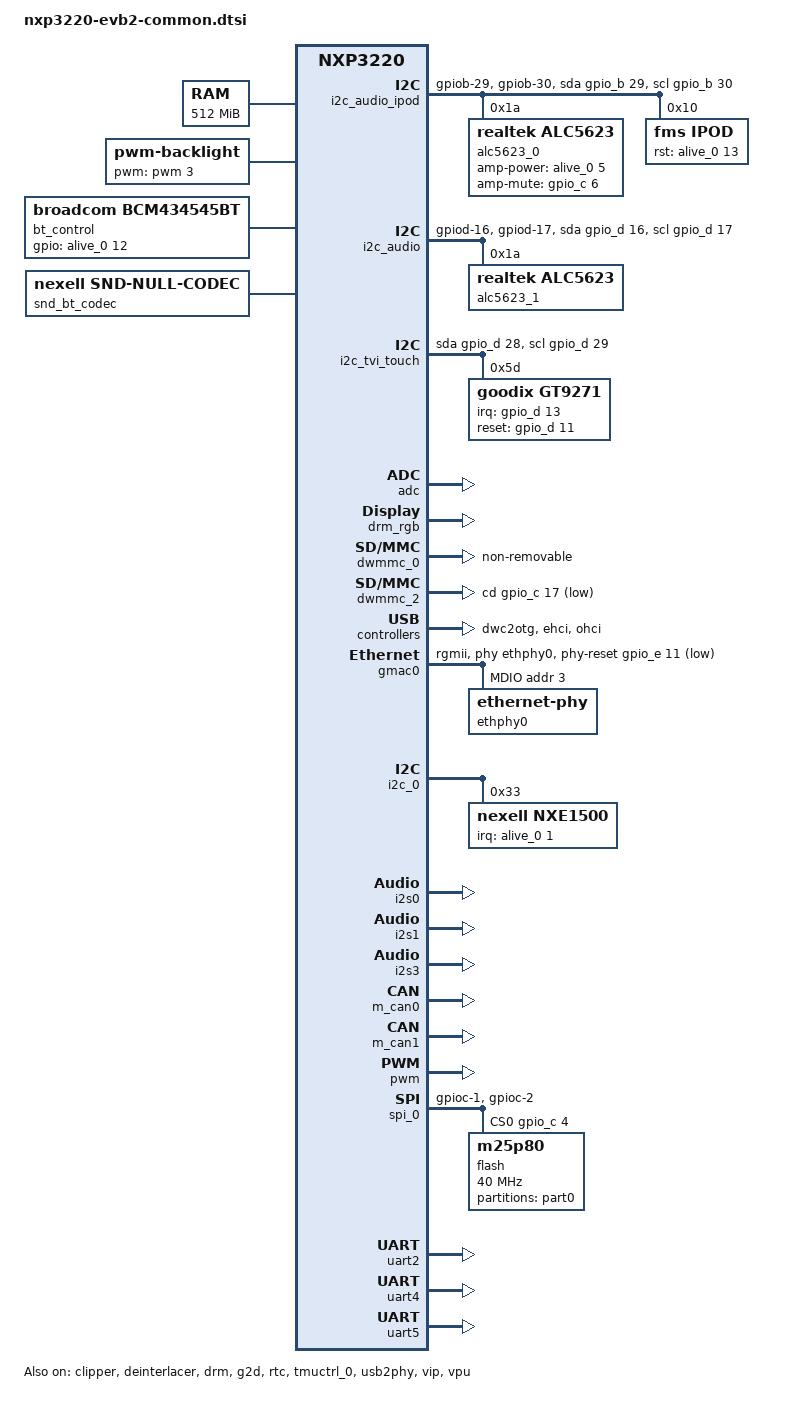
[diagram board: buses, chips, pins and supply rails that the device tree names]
// SPDX-License-Identifier: (GPL-2.0+ OR MIT)
/*
 * Copyright (C) 2018  Nexell Co., Ltd.
 * Author: JungHyun, Kim <jhkim@nexell.co.kr>
 */

/dts-v1/;

#include <dt-bindings/gpio/gpio.h>
#include <dt-bindings/input/input.h>
#include "nxp3220.dtsi"

#define PMIC_PDATA_INIT(_id, _rname, _minuv,		\
                        _maxuv, _init_uv, _init_enable,	\
                        _set_init_uV, _slp_slots)	\
                regulator-name = _rname;                \
                regulator-min-microvolt = <_minuv>;     \
                regulator-max-microvolt = <_maxuv>;     \
                nx,id = <_id>;                          \
                nx,init_enable = <_init_enable>;        \
                nx,init_uV = <_init_uv>;                \
                nx,set_init_uV = <_set_init_uV>;        \
                nx,sleep_slots = <_slp_slots>;

/ {
	compatible = "nexell,nxp3220-evb", "nexell,nxp3220";

	chosen {
		stdout-path = &uart2;
	};

	memory@40000000 {
		device_type = "memory";
		reg = <0x40000000 0x20000000>;
	};

	reserved-memory {
		#address-cells = <1>;
		#size-cells = <1>;
		ranges;

		bl32_mem: bl32_mem@5f000000 {
			reg = <0x5f000000 0x1000000>;
			no-map;
		};
	};

	backlight: pwm-backlight {
		compatible = "pwm-backlight";
		status = "okay";

		pwms = <&pwm 3 25000 0>; /* 40khz=1000000000/25000(period ns) */
		pwm-names = "pwm-backlight";
		brightness-levels = <
			20 21 22 23 24 25 26 27 28 29
			30 31 32 33 34 35 36 37 38 39
			40 41 42 43 44 45 46 47 48 49
			50 51 52 53 54 55 56 57 58 59
			60 61 62 63 64 65 66 67 68 69
			70 71 72 73 74 75 76 77 78 79
			80 81 82 83 84 85 86 87 88 89
			90 91 92 93 94 95 96 97 98 99
			100 101 102 103 104 105 106 107 108 109
			110 111 112 113 114 115 116 117 118 119
			120 121 122 123 124 125 126 127 128 129
			130 131 132 133 134 135 136 137 138 139
			140 141 142 143 144 145 146 147 148 149
			150 151 152 153 154 155 156 157 158 159
			160 161 162 163 164 165 166 167 168 169
			170 171 172 173 174 175 176 177 178 179
			180 181 182 183 184 185 186 187 188 189
			190 191 192 193 194 195 196 197 198 199
			200 201 202 203 204 205 206 207 208 209
			210 211 212 213 214 215 216 217 218 219
			220 221 222 223 224 225 226 227 228 229
			230 231 232 233 234 235 236 237 238 239
			240 241 242 243 244 245 246 247 248 249
			250 251 252 253 254 255
			>;
		default-brightness-level = <60>;
	};

	bt_control {
		compatible = "broadcom,bcm434545bt";
		gpios = <&alive_0 12 0>;   /* Alive GPIO12 = BT_REG_ON, output */
		pinctrl-names = "bt reg on";
		pinctrl-0 = <&bt_reg_on>;
		status = "okay";
	};

	gpio_keys: gpio-keys {
		compatible = "gpio-keys";
		#address-cells = <1>;
		#size-cells = <0>;
	};

	i2c_audio_ipod: i2c@audio-ipod {
		compatible = "i2c-gpio";
		pinctrl-names = "default";
		pinctrl-0 = <&i2c_audio_ipod_sda>, <&i2c_audio_ipod_scl>;
		gpios = <&gpio_b 29 0 /* sda */
			 &gpio_b 30 0 /* scl */>;
		#address-cells = <1>;
		#size-cells = <0>;
	};

	i2c_audio: i2c@audio {
		compatible = "i2c-gpio";
		pinctrl-names = "default";
		pinctrl-0 = <&i2c_audio_sda>, <&i2c_audio_scl>;
		gpios = <&gpio_d 16 0 /* sda */
			 &gpio_d 17 0 /* scl */>;
		#address-cells = <1>;
		#size-cells = <0>;
	};

	i2c_tvi_touch: i2c@tvi_touch {
		compatible = "i2c-gpio";
		gpios = <&gpio_d 28 0 /* sda */
			 &gpio_d 29 0 /* scl */>;
		#address-cells = <1>;
		#size-cells = <0>;
	};

	nx-v4l2 {
		status = "okay";
	};

	snd_bt_codec:snd_bt_codec@0 {
		#sound-dai-cells = <0>;
		compatible = "nexell,snd-null-codec";
		status = "okay";
	};

	sound0: sound0 {
		compatible = "simple-audio-card";
		simple-audio-card,name = "nxp3220 Audio Card ALC5623 0";
		status = "okay";

		simple-audio-card,dai-link@0 {
			mclk-fs = <256>;
			format = "i2s";
			frame-master = <&sndcpu0>;
			bitclock-master = <&sndcpu0>;

			sndcpu0: cpu  {
				sound-dai = <&i2s0 0>;
			};

			sndcodec0: codec {
				sound-dai = <&alc5623_0>;
			};
		};
	};

	sound1: sound1 {
		compatible = "simple-audio-card";
		simple-audio-card,name = "nxp3220 Audio Card ALC5623 1";
		status = "okay";

		simple-audio-card,dai-link@0 {
			mclk-fs = <256>;
			format = "i2s";
			frame-master = <&sndcpu1>;
			bitclock-master = <&sndcpu1>;

			sndcpu1: cpu  {
				sound-dai = <&i2s3 0>;
			};

			sndcodec1: codec {
				sound-dai = <&alc5623_1>;
			};
		};
	};

	sound2: sound2 {
		compatible = "simple-audio-card";
		simple-audio-card,name = "nxp3220 blutooth hs sco";
		status = "okay";

		simple-audio-card,dai-link@0 {
			mclk-fs = <256>;
			format = "i2s";
			frame-master = <&sndcodec2>;
			bitclock-master = <&sndcodec2>;

			sndcpu2: cpu  {
				sound-dai = <&i2s1 0>;
			};

			sndcodec2: codec {
				sound-dai = <&snd_bt_codec>;
			};
		};
	};

	thermal-zones {
		cpu_thermal: cpu-thermal {
			thermal-sensors = <&tmuctrl_0>;
			polling-delay-passive = <1000>;
			polling-delay = <1000>;

			trips {
				/*
				cpu_alert0: cpu-alert-0 {
					temperature = <40000>;
					hysteresis = <10000>;
					type = "passive";
				};
				cpu_alert1: cpu-alert-1 {
					temperature = <50000>;
					hysteresis = <10000>;
					type = "passive";
				};
				cpu_alert2: cpu-alert-2 {
					temperature = <55000>;
					hysteresis = <10000>;
					type = "passive";
				};
				cpu-crit-0 {
					temperature = <100000>;
					hysteresis = <10000>;
					type = "critical";
				};
				*/
			};
		};
	};
};

&adc {
	status = "okay";
	sample_rate = <1000000>;
};

&clipper {
	status = "okay";
	interface_type = <NX_CAPTURE_INTERFACE_PARALLEL>;
	pinctrl-names = "default";
	pinctrl-0 = <&vid0_vclk &vid0_sync &vid0_data_8 &tp2825_rst>;
	gpios = <&alive_0 2 0>;
	data_order = <NX_VIN_CBY0CRY1>;
	port = <0>;
	external_sync = <0>;
	interlace = <1>;

	sensor {
		type = <NX_CAPTURE_SENSOR_I2C>;
		sensor_name = "tp2825";
		i2c-bus = <&i2c_tvi_touch>;
		addr = <0x45>;
		out_port = <1>;
		vdelay = <0>;
	};

	power {
		enable_seq = <
			NX_ACTION_START NX_ACTION_TYPE_GPIO 0 1 20 NX_ACTION_END
			>;

		disable_seq = <
			NX_ACTION_START NX_ACTION_TYPE_GPIO 0 0 10 NX_ACTION_END
			>;
	};
};

&deinterlacer {
	status = "okay";
};

&drm {
	status = "okay";

	/* get clock from cmu_ddr (800Mhz) */
	assigned-clocks = <&cmu CLK_SRC_DPC0_X2>,
       			<&cmu_mm CLK_MM_DPC_AXI>,
			<&pll_0 0>;
	assigned-clock-parents = <&pll_ddr0_div 0>, <0>, <0>;
	assigned-clock-rates = <0>, <333333334>, <0>;
	color-key-disable;
	video-scale-hfilter-max = <1>;
	video-scale-vfilter-max = <1>;
};

&drm_rgb {
        status = "okay";
        backlight = <&backlight>;
	enable-gpios = 	<&gpio_e 14 GPIO_ACTIVE_LOW>,
			<&gpio_e 15 GPIO_ACTIVE_HIGH>;
	display-timing {
		clock-frequency = <88565760>;
		hactive = <1920>;
		hfront-porch = <30>;
		hback-porch = <30>;
		hsync-len = <4>;
		vactive = <720>;
		vfront-porch = <10>;
		vback-porch = <10>;
		vsync-len = <2>;
		hsync-active = <1>;
		vsync-active = <1>;
		de-active = <1>;
	};
};

&dwmmc_0 {
	status = "okay";
	cap-mmc-highspeed;
	mmc-ddr-3_3v;
	broken-cd;
	non-removable;
	nexell,drive_shift = <0x04>;
	nexell,sample_shift = <0x04>;
	card-detect-delay = <200>;
	disable-wp;
};

&dwmmc_1 {
	status = "disabled";
	cap-sd-highspeed;
	nexell,drive_shift = <0x04>;
	nexell,sample_shift = <0x04>;
	card-detect-delay = <200>;
	disable-wp;
};

&dwmmc_2 {
	status = "okay";
	cap-sd-highspeed;
	cd-gpios = <&gpio_c 17 0>;
	cd-inverted;
	nexell,drive_shift = <0x04>;
	nexell,sample_shift = <0x04>;
	card-detect-delay = <200>;
	disable-wp;
};

&dwc2otg {
	status = "okay";
	pinctrl-0 = <&otg_vbus_en>;
	pinctrl-names = "default";
	nouse_idcon = <1>;
};

&ehci {
	status = "okay";
};

&g2d {
	status = "okay";
};

&gmac0 {
	status = "okay";
	phy-mode = "rgmii";
	phy-handle = <&ethphy0>;
	phy-reset-gpios = <&gpio_e 11 GPIO_ACTIVE_LOW>;
	phy-intr-gpios = <&gpio_a 13 GPIO_ACTIVE_LOW>;
	phy-pme-gpios = <&gpio_a 3 GPIO_ACTIVE_LOW>;

	mdio@3 {
		#address-cells = <1>;
		#size-cells = <0>;

		ethphy0: ethernet-phy@3 {
			reg = <3>;
		};
	};
};

&i2c_audio_ipod {
	alc5623_0: alc5623@1a {
		#sound-dai-cells = <0>;
		compatible = "realtek,alc5623";
		reg = <0x1a>;
		amp-power-gpio = <&alive_0 5 GPIO_ACTIVE_HIGH>;
		amp-mute-gpio = <&gpio_c 6 GPIO_ACTIVE_HIGH>;
		dac-volume = <0x12>; /* amixer 14, 0x08:0dB, step: 1.5dB */
	};

        ipod: ipod@10 {
                #sound-dai-cells = <0>;
                compatible = "fms,ipod";
                reg = <0x10>;
                rst-gpios = <&alive_0 13 0>;
        };
};

&i2c_audio {
	alc5623_1: alc5623@1a {
		#sound-dai-cells = <0>;
		compatible = "realtek,alc5623";
		reg = <0x1a>;
		dac-volume = <0x12>; /* amixer 14, 0x08:0dB, step: 1.5dB */
	};
};

&i2c_tvi_touch {
	goodix@5d {
		compatible = "goodix,gt9271";
		reg = <0x5d>;
		interrupt-parent = <&gpio_d>;
		interrupts = <13 IRQ_TYPE_EDGE_FALLING>; /* gpio_d 13 */
		irq-gpios = <&gpio_d 13 0>;
		reset-gpios = <&gpio_d 11 0>;
	};
};

&i2c_0 {
	#address-cells = <1>;
	#size-cells = <0>;
	status = "okay";

	nxe1500: nxe1500@33 {
		compatible = "nexell,nxe1500";
		interrupt-parent = <&alive_0>;
		interrupts = <1 IRQ_TYPE_EDGE_FALLING>;
		pinctrl-names = "default";
		pinctrl-0 = <&pmic_irq>;
		reg = <0x33>;

		regulators {
			VCC_DCDC0: dcdc1 {
					/* ARM */
					PMIC_PDATA_INIT( 0,
					"nxe1500_dcdc1",
					1000000, 1200000,
					1100000, 1, 0, 0x4)
					regulator-always-on;
					regulator-boot-on;
				};

			VCC_DCDC1: dcdc2 {
					/* CORE */
					PMIC_PDATA_INIT( 1,
					"nxe1500_dcdc2",
					975000, 1000000,
					1000000, 1, 0, 0x4)
					regulator-always-on;
					regulator-boot-on;
				};

			VCC_DCDC2: dcdc3 {
					/* DDRIO */
					PMIC_PDATA_INIT( 2,
					"nxe1500_dcdc3",
					1500000, 1500000,
					1500000, 1, 0, 0xF)
					regulator-always-on;
					regulator-boot-on;
				};

			VCC_DCDC3: dcdc4 {
					/* DDR */
					PMIC_PDATA_INIT( 3,
					"nxe1500_dcdc4",
					1500000, 1500000,
					1500000, 1, 0, 0xF)
					regulator-always-on;
					regulator-boot-on;
				};

			VCC_LDO0: ldo1 {
					PMIC_PDATA_INIT( 5,
					"nxe1500_ldo1",
					3300000, 3300000,
					3300000, 1, 0, 0x2)
					regulator-boot-on;
				};

			VCC_LDO1: ldo2 {
					PMIC_PDATA_INIT( 6,
					"nxe1500_ldo2",
					1800000, 1800000,
					1800000, 1, 0, 0x3)
					regulator-boot-on;
				};

			VCC_LDO2: ldo3 { PMIC_PDATA_INIT( 7,
					"nxe1500_ldo3",
					3300000, 3300000,
					3300000, 1, 0, 0x2)
					regulator-always-on;
					regulator-boot-on;
				};

			VCC_LDO3: ldo4 {
					PMIC_PDATA_INIT( 8,
					"nxe1500_ldo4",
					3300000, 3300000,
					3300000, 0, 0, 0x3)
					regulator-always-on;
					regulator-boot-on;
				};

			VCC_LDO4: ldo5 {
					PMIC_PDATA_INIT( 9,
					"nxe1500_ldo5",
					1000000, 1000000,
					1000000, 1, 0, 0x4)
					regulator-boot-on;
				};

			VCC_RTC0: ldortc1 {
					PMIC_PDATA_INIT(15,
					"nxe1500_rtc1",
					1700000, 3500000,
					1800000, 1, 1, 0xF)
					regulator-always-on;
					regulator-boot-on;
				};

			VCC_RTC1: ldortc2 {
					PMIC_PDATA_INIT(16,
					"nxe1500_rtc2",
					1000000, 3500000,
					1000000, 1, 1, 0xF)
					regulator-always-on;
					regulator-boot-on;
				};

		}; /* regulators */
	}; /* nxe1500@33 */
}; /* &i2c_0 */

&i2s0 {
	status = "okay";
	frame-bit = <32>;
	supply-mclk-always;
};

&i2s1 {
	status = "okay";
};

&i2s3 {
	status = "okay";
	frame-bit = <32>;
	supply-mclk-always;
};

&m_can0 {
        status = "okay";
};

&m_can1 {
        status = "okay";
};

&ohci {
	status = "okay";
};

&pinctrl_0 {
	bt_reg_on: bt_reg_on {
		nexell,pins = "alive-12";
		nexell,pin-function = <NX_PIN_FUNC0>;
		nexell,pin-pull = <NX_PIN_PULL_NONE>;
		nexell,pin-strength = <NX_PIN_STR0>;
	};

	button_key: button-key {
		nexell,pins = "alive-0";
		nexell,pin-function = <NX_PIN_FUNC0>;
		nexell,pin-pull = <NX_PIN_PULL_UP>;
		nexell,pin-strength = <NX_PIN_STR0>;
	};

	button_pwr: button-pwr {
		nexell,pins = "alive-0";
		nexell,pin-function = <NX_PIN_FUNC0>;
		nexell,pin-pull = <NX_PIN_PULL_UP>;
		nexell,pin-strength = <NX_PIN_STR0>;
	};

	i2c_audio_ipod_sda: i2c-audio-ipod-sda {
		nexell,pins = "gpiob-29";
		nexell,pin-function = <NX_PIN_FUNC0>;
		nexell,pin-pull = <NX_PIN_PULL_UP>;
		nexell,pin-strength = <NX_PIN_STR0>;
	};

	i2c_audio_ipod_scl: i2c-audio-ipod-scl {
		nexell,pins = "gpiob-30";
		nexell,pin-function = <NX_PIN_FUNC0>;
		nexell,pin-pull = <NX_PIN_PULL_UP>;
		nexell,pin-strength = <NX_PIN_STR0>;
	};

	i2c_audio_sda: i2c-audio-sda {
		nexell,pins = "gpiod-16";
		nexell,pin-function = <NX_PIN_FUNC0>;
		nexell,pin-pull = <NX_PIN_PULL_UP>;
		nexell,pin-strength = <NX_PIN_STR0>;
	};

	i2c_audio_scl: i2c-audio-scl {
		nexell,pins = "gpiod-17";
		nexell,pin-function = <NX_PIN_FUNC0>;
		nexell,pin-pull = <NX_PIN_PULL_UP>;
		nexell,pin-strength = <NX_PIN_STR0>;
	};

	pmic_irq: nxe1500-irq {
		nexell,pins = "alive-1";
		nexell,pin-function = <NX_PIN_FUNC0>;
		nexell,pin-pull = <NX_PIN_PULL_NONE>;
		nexell,pin-strength = <NX_PIN_STR0>;
	};

	spi0_wp: spi0-wp {
		nexell,pins = "gpioc-1";
		nexell,pin-function = <NX_PIN_FUNC0>;
		nexell,pin-pull = <NX_PIN_PULL_UP>;
		nexell,pin-strength = <NX_PIN_STR0>;
	};

	spi0_hold: spi0-hold {
		nexell,pins = "gpioc-2";
		nexell,pin-function = <NX_PIN_FUNC0>;
		nexell,pin-pull = <NX_PIN_PULL_UP>;
		nexell,pin-strength = <NX_PIN_STR0>;
	};

	tp2825_rst: tp2825-rst {
		nexell,pins = "alive-2";
		nexell,pin-function = <NX_PIN_FUNC0>;
		nexell,pin-pull = <NX_PIN_PULL_NONE>;
		nexell,pin-strength = <NX_PIN_STR0>;
	};
};

&pwm {
	status = "okay";
	nexell,pwm-outputs = <3>;
	tclk_freq = <100000000>;
	pinctrl-names = "default";
	pinctrl-0 = <&pwm3_pin>;
};

&rtc {
	status = "okay";
};

&spi_0 {
	status = "okay";
	pinctrl-0 = <&spi0_bus>, <&spi0_wp>, <&spi0_hold>;
	cs-gpios = <&gpio_c 4 0>;

	flash: m25p80 {
		#address-cells = <1>;
		#size-cells = <1>;
		compatible = "m25p80", "jedec,spi-nor";
		reg = <0>;
		spi-max-frequency = <40000000>;
		disable-4byte-address;
		m25p,fast-read;
		spi-cpol;
		spi-cpha;

		partition@0 {
			label = "part0";
			reg = <0x500000 0x7b00000>;
		};
	};
};

&tmuctrl_0 {
	status = "okay";
};

&uart2 {
	status = "okay";
};

&uart4 {
	pinctrl-0 = <&uart4_bus>, <&uart4_hflow>;
	status = "okay";
};

&uart5 {
	pinctrl-0 = <&uart5_bus>, <&uart5_485>;
	status = "okay";
};

&usb2phy {
	status = "okay";
};

&vip {
	status = "okay";
};

&vpu {
	status = "okay";
};
